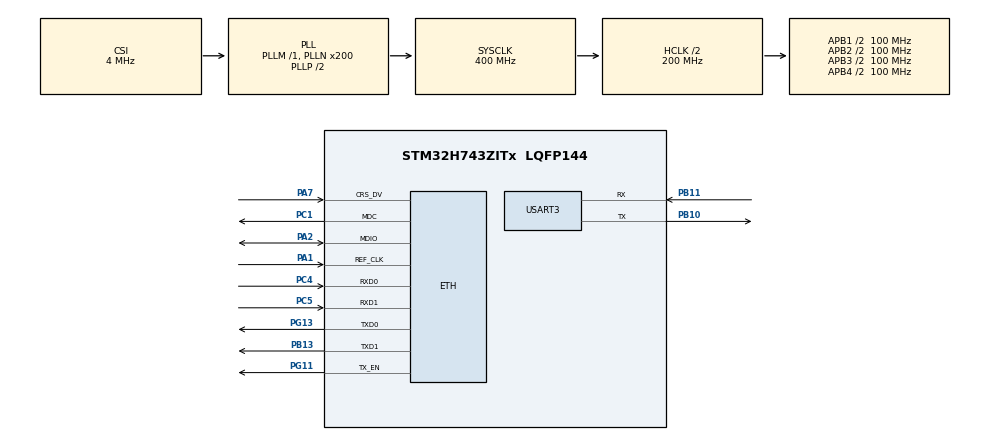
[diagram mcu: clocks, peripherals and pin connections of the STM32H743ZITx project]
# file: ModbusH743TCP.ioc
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CORTEX_M7.AccessPermission-Cortex_Memory_Protection_Unit_Region0_Settings=MPU_REGION_FULL_ACCESS
CORTEX_M7.AccessPermission-Cortex_Memory_Protection_Unit_Region1_Settings=MPU_REGION_FULL_ACCESS
CORTEX_M7.BaseAddress-Cortex_Memory_Protection_Unit_Region0_Settings=0x30040000
CORTEX_M7.BaseAddress-Cortex_Memory_Protection_Unit_Region1_Settings=0x30044000
CORTEX_M7.CPU_DCache=Enabled
CORTEX_M7.CPU_ICache=Enabled
CORTEX_M7.DisableExec-Cortex_Memory_Protection_Unit_Region0_Settings=MPU_INSTRUCTION_ACCESS_ENABLE
CORTEX_M7.DisableExec-Cortex_Memory_Protection_Unit_Region1_Settings=MPU_INSTRUCTION_ACCESS_ENABLE
CORTEX_M7.Enable-Cortex_Memory_Protection_Unit_Region0_Settings=MPU_REGION_ENABLE
CORTEX_M7.Enable-Cortex_Memory_Protection_Unit_Region1_Settings=MPU_REGION_ENABLE
CORTEX_M7.IsBufferable-Cortex_Memory_Protection_Unit_Region0_Settings=MPU_ACCESS_BUFFERABLE
CORTEX_M7.IsBufferable-Cortex_Memory_Protection_Unit_Region1_Settings=MPU_ACCESS_NOT_BUFFERABLE
CORTEX_M7.IsShareable-Cortex_Memory_Protection_Unit_Region0_Settings=MPU_ACCESS_NOT_SHAREABLE
CORTEX_M7.IsShareable-Cortex_Memory_Protection_Unit_Region1_Settings=MPU_ACCESS_SHAREABLE
CORTEX_M7.MPU_Control=MPU_PRIVILEGED_DEFAULT
CORTEX_M7.Size-Cortex_Memory_Protection_Unit_Region0_Settings=MPU_REGION_SIZE_256B
CORTEX_M7.Size-Cortex_Memory_Protection_Unit_Region1_Settings=MPU_REGION_SIZE_16KB
CORTEX_M7.TypeExtField-Cortex_Memory_Protection_Unit_Region0_Settings=MPU_TEX_LEVEL0
CORTEX_M7.TypeExtField-Cortex_Memory_Protection_Unit_Region1_Settings=MPU_TEX_LEVEL1
ETH.MediaInterface=HAL_ETH_RMII_MODE
FREERTOS.Tasks01=defaultTask,24,256,StartDefaultTask,Default,NULL,Dynamic,NULL,NULL;myTaskMaster,8,128,StartTaskMaster,Default,NULL,Dynamic,NULL,NULL
FREERTOS.configUSE_NEWLIB_REENTRANT=1
LWIP.BSP.number=1
LWIP.IP_ADDRESS=010.075.015.012
LWIP.LWIP_DHCP=0
LWIP.LWIP_SO_RCVTIMEO=1
LWIP.LWIP_SO_SNDTIMEO=1
LWIP.MEM_SIZE=10*1024
LWIP.NETMASK_ADDRESS=255.255.252.000
LWIP.Version=v2.1.2_Cube
LWIP0.BSP.STBoard=false
LWIP0.BSP.api=BSP_COMPONENT_DRIVER
LWIP0.BSP.component=LAN8742
LWIP0.BSP.i2caddr=0
LWIP0.BSP.instance=LAN8742
LWIP0.BSP.name=Driver_PHY
LWIP0.BSP.solution=LAN8742
Mcu.Family=STM32H7
Mcu.Name=STM32H743ZITx
Mcu.Package=LQFP144
NVIC.ETH_IRQn=true\:5\:0\:false\:false\:true\:true\:true\:true
NVIC.PriorityGroup=NVIC_PRIORITYGROUP_4
NVIC.TIM17_IRQn=true\:0\:0\:false\:false\:true\:false\:false\:true
NVIC.TimeBase=TIM17_IRQn
NVIC.TimeBaseIP=TIM17
NVIC.USART3_IRQn=true\:5\:0\:false\:false\:true\:true\:true\:true
PA1.Mode=RMII
PA1.Signal=ETH_REF_CLK
PA2.GPIO_Speed=GPIO_SPEED_FREQ_VERY_HIGH
PA2.Mode=RMII
PA2.Signal=ETH_MDIO
PA7.Mode=RMII
PA7.Signal=ETH_CRS_DV
PB10.Mode=Asynchronous
PB10.Signal=USART3_TX
PB11.Mode=Asynchronous
PB11.Signal=USART3_RX
PB13.GPIO_Speed=GPIO_SPEED_FREQ_VERY_HIGH
PB13.Mode=RMII
PB13.Signal=ETH_TXD1
PC1.GPIO_Speed=GPIO_SPEED_FREQ_LOW
PC1.Mode=RMII
PC1.Signal=ETH_MDC
PC4.GPIO_Speed=GPIO_SPEED_FREQ_VERY_HIGH
PC4.Mode=RMII
PC4.Signal=ETH_RXD0
PC5.GPIO_Speed=GPIO_SPEED_FREQ_VERY_HIGH
PC5.Mode=RMII
PC5.Signal=ETH_RXD1
PG11.GPIO_Speed=GPIO_SPEED_FREQ_VERY_HIGH
PG11.Mode=RMII
PG11.Signal=ETH_TX_EN
PG13.GPIO_Speed=GPIO_SPEED_FREQ_VERY_HIGH
PG13.Mode=RMII
PG13.Signal=ETH_TXD0
ProjectManager.HeapSize=0x200
ProjectManager.StackSize=0x400
ProjectManager.TargetToolchain=STM32CubeIDE
RCC.ADCFreq_Value=8062500
RCC.APB1Freq_Value=100000000
RCC.APB2Freq_Value=100000000
RCC.APB3Freq_Value=100000000
RCC.APB4Freq_Value=100000000
RCC.CortexFreq_Value=400000000
RCC.D1PPRE=RCC_APB3_DIV2
RCC.D2PPRE1=RCC_APB1_DIV2
RCC.D2PPRE2=RCC_APB2_DIV2
RCC.D3PPRE=RCC_APB4_DIV2
RCC.DIVM1=1
RCC.DIVN1=200
RCC.HCLKFreq_Value=200000000
RCC.HPRE=RCC_HCLK_DIV2
RCC.PLLSourceVirtual=RCC_PLLSOURCE_CSI
RCC.SYSCLKFreq_VALUE=400000000
RCC.SYSCLKSource=RCC_SYSCLKSOURCE_PLLCLK
RCC.USBFreq_Value=400000000
USART3.VirtualMode-Asynchronous=VM_ASYNC
VP_FREERTOS_VS_CMSIS_V2.Mode=CMSIS_V2
VP_LWIP_VS_Enabled.Mode=Enabled
VP_SYS_VS_tim17.Mode=TIM17
board=custom

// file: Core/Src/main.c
/* USER CODE BEGIN Header */
/**
  ******************************************************************************
  * @file           : main.c
  * @brief          : Main program body
  ******************************************************************************
  * @attention
  *
  * <h2><center>&copy; Copyright (c) 2021 STMicroelectronics.
  * All rights reserved.</center></h2>
  *
  * This software component is licensed by ST under BSD 3-Clause license,
  * the "License"; You may not use this file except in compliance with the
  * License. You may obtain a copy of the License at:
  *                        opensource.org/licenses/BSD-3-Clause
  *
  ******************************************************************************
  */
/* USER CODE END Header */
#include "main.h"
#include "cmsis_os.h"
#include "lwip.h"
#include "usart.h"
#include "gpio.h"

/* USER CODE BEGIN PV */
modbusHandler_t ModbusH;
uint16_t ModbusDATA[16];

/* USER CODE END PV */

void SystemClock_Config(void);
static void MPU_Config(void);
void MX_FREERTOS_Init(void);

int main(void)
{

  /* MPU Configuration--------------------------------------------------------*/
  MPU_Config();

  /* Enable I-Cache---------------------------------------------------------*/
  SCB_EnableICache();

  /* Enable D-Cache---------------------------------------------------------*/
  SCB_EnableDCache();

  /* MCU Configuration--------------------------------------------------------*/

  /* Reset of all peripherals, Initializes the Flash interface and the Systick. */
  HAL_Init();

  /* Configure the system clock */
  SystemClock_Config();

  /* Initialize all configured peripherals */
  MX_GPIO_Init();
  MX_USART3_UART_Init();
  /* USER CODE BEGIN 2 */

  ModbusH.uModbusType = MB_SLAVE;
  //ModbusH.uModbusType = MB_MASTER;
  //ModbusH.port =  &huart3; //this is not used for TCP
  ModbusH.u8id = 1; //slave ID
  //ModbusH.u8id = 0; //slave ID for master always 0
  ModbusH.u16timeOut = 5;
  ModbusH.EN_Port = NULL; // No RS485
   //ModbusH2.EN_Port = LD2_GPIO_Port; // RS485 Enable
   //ModbusH2.EN_Pin = LD2_Pin; // RS485 Enable
  ModbusH.u16regs = ModbusDATA;
  ModbusH.u16regsize= sizeof(ModbusDATA)/sizeof(ModbusDATA[0]);
  ModbusH.xTypeHW = TCP_HW; // TCP hardware

  //Initialize Modbus library
  ModbusInit(&ModbusH);
  //Start capturing traffic on serial Port and initialize counters
  ModbusStart(&ModbusH);

  /* USER CODE END 2 */

  /* Init scheduler */
  osKernelInitialize();  /* Call init function for freertos objects (in freertos.c) */
  MX_FREERTOS_Init();
  /* Start scheduler */
  osKernelStart();

  /* We should never get here as control is now taken by the scheduler */
  /* Infinite loop */
  while (1)
  {

  }
}

void SystemClock_Config(void)
{
  RCC_OscInitTypeDef RCC_OscInitStruct = {0};
  RCC_ClkInitTypeDef RCC_ClkInitStruct = {0};

  /** Supply configuration update enable
  */
  HAL_PWREx_ConfigSupply(PWR_LDO_SUPPLY);
  /** Configure the main internal regulator output voltage
  */
  __HAL_PWR_VOLTAGESCALING_CONFIG(PWR_REGULATOR_VOLTAGE_SCALE1);

  while(!__HAL_PWR_GET_FLAG(PWR_FLAG_VOSRDY)) {}
  /** Initializes the RCC Oscillators according to the specified parameters
  * in the RCC_OscInitTypeDef structure.
  */
  RCC_OscInitStruct.OscillatorType = RCC_OSCILLATORTYPE_CSI;
  RCC_OscInitStruct.CSIState = RCC_CSI_ON;
  RCC_OscInitStruct.CSICalibrationValue = RCC_CSICALIBRATION_DEFAULT;
  RCC_OscInitStruct.PLL.PLLState = RCC_PLL_ON;
  RCC_OscInitStruct.PLL.PLLSource = RCC_PLLSOURCE_CSI;
  RCC_OscInitStruct.PLL.PLLM = 1;
  RCC_OscInitStruct.PLL.PLLN = 200;
  RCC_OscInitStruct.PLL.PLLP = 2;
  RCC_OscInitStruct.PLL.PLLQ = 2;
  RCC_OscInitStruct.PLL.PLLR = 2;
  RCC_OscInitStruct.PLL.PLLRGE = RCC_PLL1VCIRANGE_2;
  RCC_OscInitStruct.PLL.PLLVCOSEL = RCC_PLL1VCOWIDE;
  RCC_OscInitStruct.PLL.PLLFRACN = 0;
  if (HAL_RCC_OscConfig(&RCC_OscInitStruct) != HAL_OK)
  {
    Error_Handler();
  }
  /** Initializes the CPU, AHB and APB buses clocks
  */
  RCC_ClkInitStruct.ClockType = RCC_CLOCKTYPE_HCLK|RCC_CLOCKTYPE_SYSCLK
                              |RCC_CLOCKTYPE_PCLK1|RCC_CLOCKTYPE_PCLK2
                              |RCC_CLOCKTYPE_D3PCLK1|RCC_CLOCKTYPE_D1PCLK1;
  RCC_ClkInitStruct.SYSCLKSource = RCC_SYSCLKSOURCE_PLLCLK;
  RCC_ClkInitStruct.SYSCLKDivider = RCC_SYSCLK_DIV1;
  RCC_ClkInitStruct.AHBCLKDivider = RCC_HCLK_DIV2;
  RCC_ClkInitStruct.APB3CLKDivider = RCC_APB3_DIV2;
  RCC_ClkInitStruct.APB1CLKDivider = RCC_APB1_DIV2;
  RCC_ClkInitStruct.APB2CLKDivider = RCC_APB2_DIV2;
  RCC_ClkInitStruct.APB4CLKDivider = RCC_APB4_DIV2;

  if (HAL_RCC_ClockConfig(&RCC_ClkInitStruct, FLASH_LATENCY_2) != HAL_OK)
  {
    Error_Handler();
  }
}

/* MPU Configuration */

void MPU_Config(void)
{
  MPU_Region_InitTypeDef MPU_InitStruct = {0};

  /* Disables the MPU */
  HAL_MPU_Disable();
  /** Initializes and configures the Region and the memory to be protected
  */
  MPU_InitStruct.Enable = MPU_REGION_ENABLE;
  MPU_InitStruct.Number = MPU_REGION_NUMBER0;
  MPU_InitStruct.BaseAddress = 0x30040000;
  MPU_InitStruct.Size = MPU_REGION_SIZE_256B;
  MPU_InitStruct.SubRegionDisable = 0x0;
  MPU_InitStruct.TypeExtField = MPU_TEX_LEVEL0;
  MPU_InitStruct.AccessPermission = MPU_REGION_FULL_ACCESS;
  MPU_InitStruct.DisableExec = MPU_INSTRUCTION_ACCESS_ENABLE;
  MPU_InitStruct.IsShareable = MPU_ACCESS_NOT_SHAREABLE;
  MPU_InitStruct.IsCacheable = MPU_ACCESS_NOT_CACHEABLE;
  MPU_InitStruct.IsBufferable = MPU_ACCESS_BUFFERABLE;

  HAL_MPU_ConfigRegion(&MPU_InitStruct);
  /** Initializes and configures the Region and the memory to be protected
  */
  MPU_InitStruct.Number = MPU_REGION_NUMBER1;
  MPU_InitStruct.BaseAddress = 0x30044000;
  MPU_InitStruct.Size = MPU_REGION_SIZE_16KB;
  MPU_InitStruct.TypeExtField = MPU_TEX_LEVEL1;
  MPU_InitStruct.IsShareable = MPU_ACCESS_SHAREABLE;
  MPU_InitStruct.IsBufferable = MPU_ACCESS_NOT_BUFFERABLE;

  HAL_MPU_ConfigRegion(&MPU_InitStruct);
  /* Enables the MPU */
  HAL_MPU_Enable(MPU_PRIVILEGED_DEFAULT);

}

void HAL_TIM_PeriodElapsedCallback(TIM_HandleTypeDef *htim)
{
  if (htim->Instance == TIM17) {
    HAL_IncTick();
  }
}

void Error_Handler(void)
{
  __disable_irq();
  while (1)
  {
  }
}

/************************ (C) COPYRIGHT STMicroelectronics *****END OF FILE****/

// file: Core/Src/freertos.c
/* USER CODE BEGIN Header */
/**
  ******************************************************************************
  * File Name          : freertos.c
  * Description        : Code for freertos applications
  ******************************************************************************
  * @attention
  *
  * <h2><center>&copy; Copyright (c) 2021 STMicroelectronics.
  * All rights reserved.</center></h2>
  *
  * This software component is licensed by ST under Ultimate Liberty license
  * SLA0044, the "License"; You may not use this file except in compliance with
  * the License. You may obtain a copy of the License at:
  *                             www.st.com/SLA0044
  *
  ******************************************************************************
  */
/* USER CODE END Header */

#include "FreeRTOS.h"
#include "task.h"
#include "main.h"
#include "cmsis_os.h"

/* USER CODE BEGIN Includes */
#include "Modbus.h"
#include "ip_addr.h"
#include "ethernetif.h"
#include "semphr.h"
/* USER CODE END Includes */

/* Definitions for defaultTask */
osThreadId_t defaultTaskHandle;
const osThreadAttr_t defaultTask_attributes = {
  .name = "defaultTask",
  .stack_size = 256 * 4,
  .priority = (osPriority_t) osPriorityNormal,
};
/* Definitions for myTaskMaster */
osThreadId_t myTaskMasterHandle;
const osThreadAttr_t myTaskMaster_attributes = {
  .name = "myTaskMaster",
  .stack_size = 128 * 4,
  .priority = (osPriority_t) osPriorityLow,
};

void StartDefaultTask(void *argument);
void StartTaskMaster(void *argument);

extern void MX_LWIP_Init(void);
void MX_FREERTOS_Init(void); /* (MISRA C 2004 rule 8.1) */

void MX_FREERTOS_Init(void) {

  /* Create the thread(s) */
  /* creation of defaultTask */
  defaultTaskHandle = osThreadNew(StartDefaultTask, NULL, &defaultTask_attributes);

  /* creation of myTaskMaster */
  myTaskMasterHandle = osThreadNew(StartTaskMaster, NULL, &myTaskMaster_attributes);

}

void StartDefaultTask(void *argument)
{
  /* init code for LWIP */
  MX_LWIP_Init();
  for(;;)
  {
    osDelay(1);
  }
}

void StartTaskMaster(void *argument)
{
  /* USER CODE BEGIN StartTaskMaster */
  /* Infinite loop */

	modbus_t telegram[2];
	uint32_t u32NotificationValue;

	if(ModbusH.uModbusType == MB_MASTER)
	{
	    telegram[0].u8id = 1; // slave address
        telegram[0].u8fct = MB_FC_READ_COILS; // function code (this one is registers read)
        //telegram[0].u16RegAdd = 0x160; // start address in slave
        telegram[0].u16RegAdd = 0x0; // start address in slave
        telegram[0].u16CoilsNo = 6; // number of elements (coils or registers) to read
        telegram[0].u16reg = ModbusDATA; // pointer to a memory array in the microcontroller
        IP_ADDR4((ip4_addr_t *)&telegram[0].xIpAddress, 10, 75, 15, 61); //address of the slave
        telegram[0].u16Port = 5020;
        telegram[0].u8clientID = 0; // this identifies the TCP client session. The library supports up to "NUMBERTCPCONN"
        						 //	simultaneous connections to different slaves. The value is defined in ModbusConfig.h file.
        						 // The library uses the IP and port to open the TCP connection and keep the connection open regardless
        						 // of later changes to those values. To change the IP address and Port, close the connection
        						 // using the corresponding u8clientID, update the IP and Port and execute a new ModbusQuery.

        telegram[1].u8id = 1; // slave address
        telegram[1].u8fct = MB_FC_WRITE_MULTIPLE_COILS; // function code (this one is registers read)
        //telegram[0].u16RegAdd = 0x160; // start address in slave
        telegram[1].u16RegAdd = 0x0; // start address in slave
        telegram[1].u16CoilsNo = 6; // number of elements (coils or registers) to write
        telegram[1].u16reg = ModbusDATA; // pointer to a memory array in the microcontroller
        IP_ADDR4((ip4_addr_t *)&telegram[1].xIpAddress, 10, 75, 15, 61); //address of the slave
        telegram[1].u16Port = 5020;
        telegram[1].u8clientID = 0; //this telegram will use the second connection slot

        ModbusDATA[0] = 0xAAAA;
	}

    for(;;)
    {
    	/* Send query Modbus TCP */

    	if(ModbusH.uModbusType == MB_MASTER)
        {
            ModbusDATA[0] = ~ModbusDATA[0];
            ModbusQuery(&ModbusH, telegram[0]); // make a query
    	    u32NotificationValue = ulTaskNotifyTake(pdTRUE, portMAX_DELAY); // block until query finishes or timeouts
    	    if(u32NotificationValue != OP_OK_QUERY)
    	    {
    	     //handle error
    	    	ModbusDATA[1]++;
    	    }

    	    //ModbusDATA[0]++;
    	    ModbusQuery(&ModbusH, telegram[1]); // make a query
    	    u32NotificationValue = ulTaskNotifyTake(pdTRUE, portMAX_DELAY); // block until query finishes or timeouts
    	    if(u32NotificationValue != OP_OK_QUERY)
    	    {
    	    	ModbusDATA[2]++;
    	    }
        }
    	osDelay(500);

    }
    /* USER CODE END StartTaskMaster */

}

/************************ (C) COPYRIGHT STMicroelectronics *****END OF FILE****/
